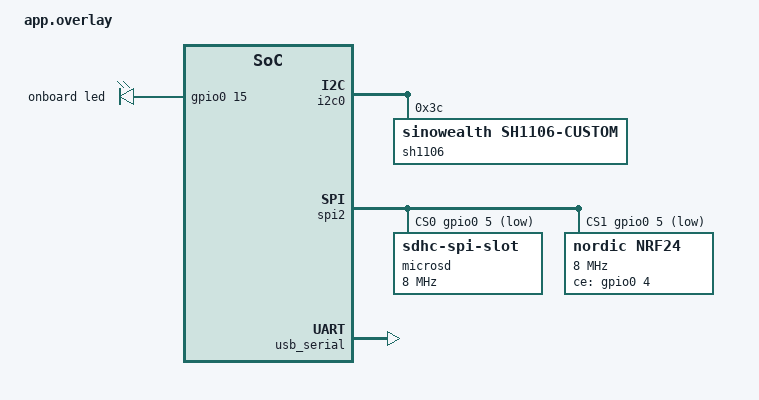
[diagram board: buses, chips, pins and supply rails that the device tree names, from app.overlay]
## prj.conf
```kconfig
CONFIG_GPIO=y
CONFIG_CONSOLE=y
CONFIG_CONSOLE_SUBSYS=y
CONFIG_CONSOLE_GETLINE=y
CONFIG_SPI=y
CONFIG_SERIAL=y
CONFIG_UART_CONSOLE=y
CONFIG_SDHC=y
CONFIG_SDMMC_STACK=y
CONFIG_SDMMC_SUBSYS=y
CONFIG_DISPLAY=y

#enable USB stack
CONFIG_USB_DEVICE_STACK=y
CONFIG_USB_DEVICE_PRODUCT="Surya's USB dongle"
CONFIG_USB_DEVICE_PID=0x0004
CONFIG_USB_DEVICE_VID=4440
CONFIG_USB_DEVICE_INITIALIZE_AT_BOOT=y



#custom defs
CONFIG_SD_FAT32=y
CONFIG_OLED_SH1106=y
CONFIG_SH1106_GFX=y
CONFIG_NRF24_DRV=y
CONFIG_NRF24_BLE=y
```

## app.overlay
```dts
/
{
    chosen {
        zephyr,console = &usb_serial;
        zephyr,shell-uart = &usb_serial;
    };

    aliases {
        led0 = &onboard_led;
    };

    leds {
        compatible = "gpio-leds";

        onboard_led: onboard_led {
            gpios = <&gpio0 15 GPIO_ACTIVE_HIGH>;
            label = "onboard led";
        };
    };
};

&i2c0 {
    sh1106:sh1106@3c{
        compatible="sinowealth,sh1106-custom";
        status="okay";
        reg=<0x3c>;
    };
};

&spi2{
    status = "okay";
    cs-gpios = <&gpio0 5 GPIO_ACTIVE_LOW> , <&gpio0 5 GPIO_ACTIVE_LOW>;

    microsd:microsd@0{
     compatible ="zephyr,sdhc-spi-slot";
     spi-max-frequency= <8000000>;
     reg = <0>;
     status="okay";
    };

    nrf24:nrf24@1{
        compatible="nordic,nrf24";
        spi-max-frequency=<8000000>;
        ce-gpios=<&gpio0 4 GPIO_ACTIVE_HIGH>;
        reg=<1>;
        status="okay";
    };
};

&usb_serial{
    status="okay";
};
```

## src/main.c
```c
/*
 * Copyright (c) 2016 Intel Corporation
 *
 * SPDX-License-Identifier: Apache-2.0
 */

#include <zephyr/kernel.h>
#include <zephyr/device.h>
#include <zephyr/drivers/gpio.h>
#include <sh1106_gfx.h>
#include <nordic_logo.h>
#include <stddef.h>
#include <zephyr/console/console.h>
#include <nrf24_ble.h>
#include <nrf24_drv.h>
#include <sdFat32.h>

#define MY_STACK_SIZE 2048
#define MY_PRIORITY 2


K_SEM_DEFINE(sem, 0, 1);

const char *adv_name = "ZephyrBLE";
const uint8_t tx_address[5] = {0x01, 0x23, 0x45, 0x67, 0x89};
char tx_msg[32];

static ble_service_data_t service_data;
static ble_adv_config_t config;
uint8_t count;


const struct device *sh1106 = DEVICE_DT_GET(DT_NODELABEL(sh1106));
/* 1000 msec = 1 sec */
#define SLEEP_TIME_MS 1000

/* The devicetree node identifier for the "led0" alias. */
#define LED0_NODE DT_ALIAS(led0)

/*
 * A build error on this line means your board is unsupported.
 * See the sample documentation for information on how to fix this.
 */
static const struct gpio_dt_spec led = GPIO_DT_SPEC_GET(LED0_NODE, gpios);


int main(void)
{
	
	service_data.uuid = NRF_TEMPERATURE_SERVICE_UUID;
	service_data.data = count;
	config.ble_service_data = &service_data;
	config.flags = 0x05;
	config.adv_name = adv_name;

	if (!ble_begin(&config))
	{
		printk("Ble init failed\n");
	}
	else
		printk("BLE init success");

	ble_set_mode(BLE_MODE_ADVERTISE);
   
	k_msleep(3000);
	if (!sdFat32Init())
		printk("sdFat32 init failed\n");
	else
		printk("sdFat32 init success\n");

	while (1)
	{

		/*
		if (ble_advertise())
		{
			printk("Adv success!\n");
			service_data.data = count;
			count++;
		}
		else
			printk("Adv failed\n");
		
		*/
		
		k_sleep(K_MSEC(50));
	}

	return 0;
}

void myThread1(void *, void *, void *)
{

	if (!device_is_ready(sh1106))
	{
		printk("Failed to initialize sh1106 display\n");
		while (1)
			;
	}

	console_getline_init();

	oled_displayOn(sh1106);
	oled_clearDisplay(sh1106);
	oled_printString(sh1106, "Powered by Zephyr OS.", 0, 0, 6, false);

	oled_display(sh1106);
	k_msleep(2000);
	oled_clearDisplay(sh1106);
	oled_displayBmp(sh1106, logo);
	oled_display(sh1106);
	k_msleep(2000);
	oled_clearDisplay(sh1106);

	while (1)
	{
		char *s = "";
		s = console_getline();
		// if (k_sem_take(&sem, K_USEC(10)) == 0)
		{
			oled_printLog(sh1106, s);
			oled_display(sh1106);
			listDirectory(s);
		}
	}
}

int myThread0(void *, void *, void *)
{
	int ret;
	if (!gpio_is_ready_dt(&led))
	{
		return 0;
	}

	ret = gpio_pin_configure_dt(&led, GPIO_OUTPUT_ACTIVE);
	if (ret < 0)
	{
		return 0;
	}

	while (1)
	{

		ret = gpio_pin_toggle_dt(&led);
		if (ret < 0)
			return 0;
		k_msleep(SLEEP_TIME_MS);
		printk("Hello from esp32c6\n");
		// k_sem_give(&sem);
	}
	return 0;
}

K_THREAD_DEFINE(oled_tid, MY_STACK_SIZE,
				myThread1, NULL, NULL, NULL,
				MY_PRIORITY, 0, 0);

K_THREAD_DEFINE(my_tid, MY_STACK_SIZE,
				myThread0, NULL, NULL, NULL,
				MY_PRIORITY, 0, 0);
```
